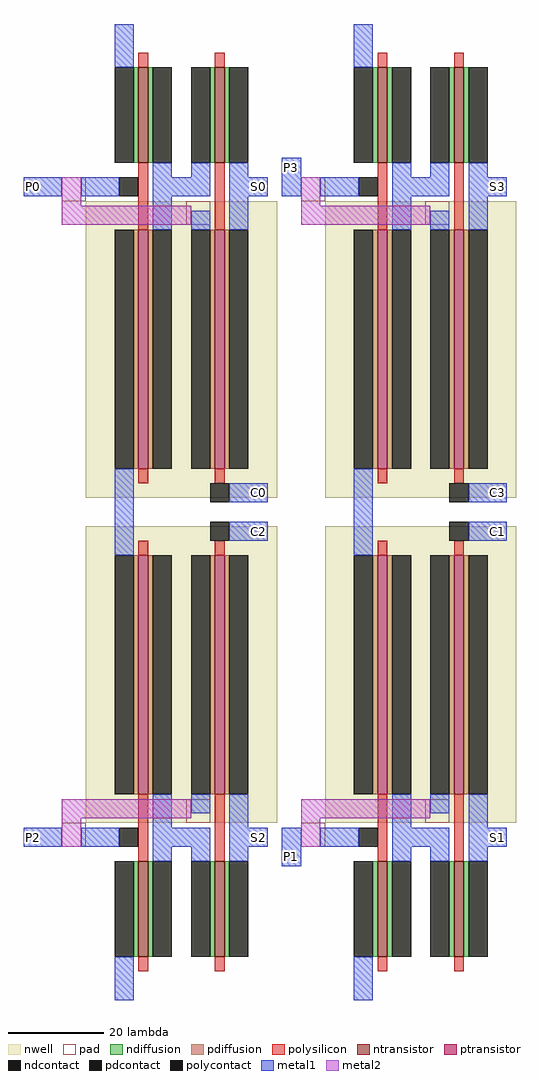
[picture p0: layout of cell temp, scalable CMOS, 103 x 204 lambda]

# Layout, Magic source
magic
tech scmos
<< metal1 >>
rect 50 172 54 176
rect -4 168 0 172
rect 43 168 47 172
rect 93 168 97 172
rect 43 104 47 108
rect 93 104 97 108
rect 43 96 47 100
rect 93 96 97 100
rect -4 32 0 36
rect 43 32 47 36
rect 93 32 97 36
rect 50 28 54 32
use xor_optimized  xor_optimized_1 ../../../xor/optimized/post_layout
transform 1 0 55 0 1 0
box -5 0 44 102
use xor_optimized  xor_optimized_3
transform 1 0 55 0 -1 204
box -5 0 44 102
use xor_optimized  xor_optimized_2
transform 1 0 5 0 -1 204
box -5 0 44 102
use xor_optimized  xor_optimized_0
transform 1 0 5 0 1 0
box -5 0 44 102
<< labels >>
rlabel metal1 43 32 47 36 1 S2
rlabel metal1 43 168 47 172 1 S0
rlabel metal1 43 104 47 108 1 C0
rlabel metal1 93 168 97 172 7 S3
rlabel metal1 93 32 97 36 7 S1
rlabel metal1 43 96 47 100 1 C2
rlabel metal1 93 104 97 108 7 C3
rlabel metal1 93 96 97 100 7 C1
rlabel metal1 -4 32 0 36 3 P2
rlabel metal1 -4 168 0 172 3 P0
rlabel metal1 50 172 54 176 1 P3
rlabel metal1 50 28 54 32 1 P1
<< end >>

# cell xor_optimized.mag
magic
tech scmos
<< nwell >>
rect 26 37 44 99
<< ntransistor >>
rect 31 9 33 29
<< ptransistor >>
rect 31 43 33 93
<< ndiffusion >>
rect 30 9 31 29
rect 33 9 34 29
<< pdiffusion >>
rect 30 43 31 93
rect 33 43 34 93
<< ndcontact >>
rect 26 9 30 29
rect 34 9 38 29
<< pdcontact >>
rect 26 43 30 93
rect 34 43 38 93
<< polysilicon >>
rect 31 93 33 96
rect 31 29 33 43
rect 31 6 33 9
<< polycontact >>
rect 30 96 34 100
<< metal1 >>
rect 34 96 38 100
rect 26 39 30 43
rect -5 32 -1 36
rect 3 32 7 36
rect 22 32 30 36
rect 26 29 30 32
rect 34 29 38 43
<< metal2 >>
rect -1 38 26 42
rect -1 32 3 38
<< pad >>
rect 25 37 30 42
rect -1 32 4 37
use inv_cmos  inv_cmos_0 ../../../inv/cmos/post_layout
transform 1 0 4 0 1 37
box 0 -37 24 65
<< labels >>
rlabel metal1 -5 32 -1 36 3 B
rlabel metal1 34 32 38 36 1 Y
rlabel metal1 34 96 38 100 5 A
<< end >>

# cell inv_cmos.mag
magic
tech scmos
<< nwell >>
rect 0 0 24 62
<< ntransistor >>
rect 11 -28 13 -8
<< ptransistor >>
rect 11 6 13 56
<< ndiffusion >>
rect 10 -28 11 -8
rect 13 -28 14 -8
<< pdiffusion >>
rect 10 6 11 56
rect 13 6 14 56
<< ndcontact >>
rect 6 -28 10 -8
rect 14 -28 18 -8
<< pdcontact >>
rect 6 6 10 56
rect 14 6 18 56
<< polysilicon >>
rect 11 56 13 59
rect 11 -8 13 6
rect 11 -31 13 -28
<< polycontact >>
rect 7 -5 11 -1
<< metal1 >>
rect 6 56 10 65
rect 3 -5 7 -1
rect 14 -8 18 6
rect 6 -37 10 -28
<< labels >>
rlabel metal1 3 -5 7 -1 1 IN
rlabel metal1 14 -5 18 -1 1 OUT
rlabel metal1 6 61 10 65 5 vdd
rlabel metal1 6 -37 10 -33 1 gnd
<< end >>
